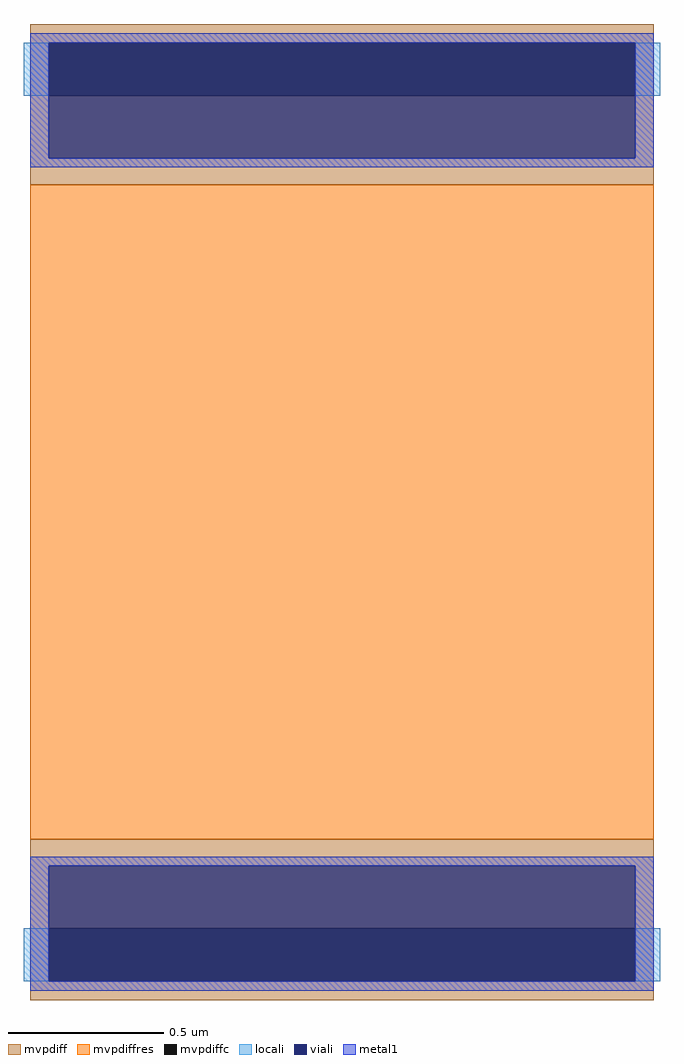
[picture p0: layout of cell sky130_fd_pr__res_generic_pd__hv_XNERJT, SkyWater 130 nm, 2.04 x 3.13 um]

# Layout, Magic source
magic
tech sky130A
magscale 1 2
<< mvpdiff >>
rect -200 301 200 313
rect -200 267 -188 301
rect 188 267 200 301
rect -200 210 200 267
rect -200 -267 200 -210
rect -200 -301 -188 -267
rect 188 -301 200 -267
rect -200 -313 200 -301
<< mvpdiffc >>
rect -188 267 188 301
rect -188 -301 188 -267
<< mvpdiffres >>
rect -200 -210 200 210
<< locali >>
rect -204 267 -188 301
rect 188 267 204 301
rect -204 -301 -188 -267
rect 188 -301 204 -267
<< viali >>
rect -188 267 188 301
rect -188 227 188 267
rect -188 -267 188 -227
rect -188 -301 188 -267
<< metal1 >>
rect -200 301 200 307
rect -200 227 -188 301
rect 188 227 200 301
rect -200 221 200 227
rect -200 -227 200 -221
rect -200 -301 -188 -227
rect 188 -301 200 -227
rect -200 -307 200 -301
<< properties >>
string gencell sky130_fd_pr__res_generic_pd__hv
string library sky130
string parameters w 2.0 l 2.1 m 1 nx 1 wmin 0.42 lmin 2.10 rho 197 val 208.939 dummy 0 dw 0.02 term 0.0 sterm 0.0 caplen 0.60 snake 0 guard 0 glc 1 grc 1 gtc 1 gbc 1 roverlap 0 endcov 100 full_metal 1 vias 1 viagb 0 viagt 0 viagl 0 viagr 0
<< end >>
